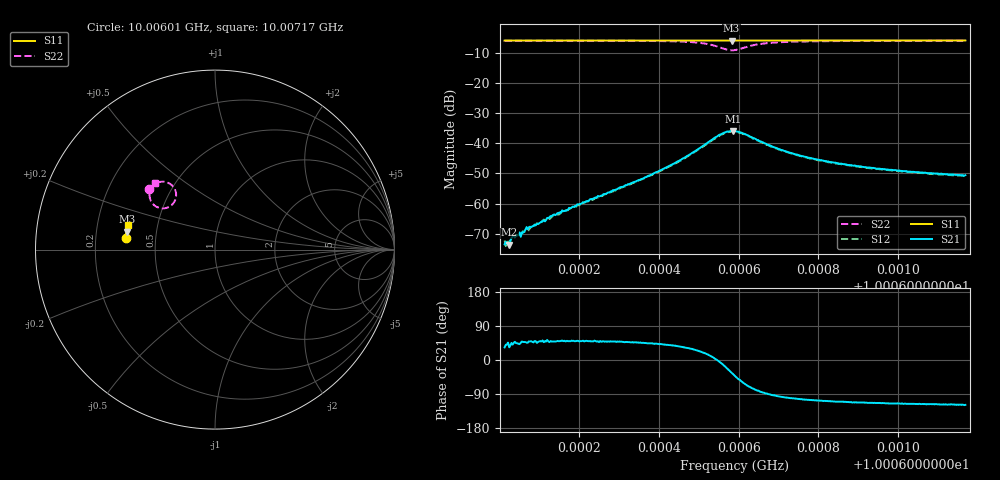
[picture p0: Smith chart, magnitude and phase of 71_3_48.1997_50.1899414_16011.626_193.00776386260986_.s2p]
#  HZ  S  RI  R  50.00
! Rohde & Schwarz Vector Network Analyzer
! Rohde-Schwarz,ZNB20-2Port,1311601062101988,3.16
! Created: UTC 3/20/2024, 11:39:11 AM
! freq[Hz]  re:S11  im:S11  re:S21  im:S21  re:S12  im:S12  re:S22  im:S22
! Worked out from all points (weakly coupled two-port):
!   401 points, 10.00601 GHz to 10.00717 GHz, reference 50 ohm
!   highest |S21| = -35.92 dB at 10.00659 GHz (marker M1); lowest = -73.6 dB at 10.00602 GHz (marker M2)
!   lowest |S11| = -6.0 dB at 10.00658 GHz (marker M3), VSWR 3.01, Z = 16.8 + j4.45 ohm
!   |S11| at or under -10 dB: nowhere
!   |S22| runs from -9.2 to -6.0 dB; largest |S21 - S12| = 0.0011
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1.0006013e10  -0.4976 0.0633  0.000177 0.000117  0.000165 0.000181  -0.3659 0.3387
1.0006022e10  -0.4976 0.0637  0.000158 0.000163  0.000169 0.00016  -0.3654 0.3393
1.0006025e10  -0.4975 0.064  0.000173 0.000115  0.000157 0.000176  -0.3652 0.3396
1.0006036e10  -0.4973 0.0647  0.000201 0.000201  0.000215 0.000203  -0.3645 0.3404
1.0006059e10  -0.4974 0.0663  0.000223 0.000244  0.000226 0.000267  -0.363 0.342
1.0006071e10  -0.4972 0.067  0.000265 0.000269  0.000246 0.000307  -0.3623 0.3428
1.0006111e10  -0.4969 0.0696  0.000362 0.000387  0.000339 0.000426  -0.3593 0.3458
1.0006132e10  -0.4967 0.071  0.000412 0.000469  0.000354 0.000482  -0.3579 0.3473
1.0006207e10  -0.4962 0.0758  0.00065 0.000772  0.000591 0.000782  -0.3517 0.3532
1.00064e10  -0.4944 0.0886  0.00257 0.00231  0.00242 0.00239  -0.3216 0.3727
1.0006461e10  -0.4936 0.0925  0.00467 0.00314  0.0044 0.00327  -0.2974 0.3784
1.0006519e10  -0.4926 0.0962  0.00946 0.00281  0.00904 0.0031  -0.2508 0.3667
1.0006556e10  -0.4916 0.0982  0.014 -0.00197  0.0137 -0.00135  -0.2169 0.3126
1.0006582e10  -0.491 0.0993  0.0133 -0.00876  0.0135 -0.00794  -0.2372 0.2523
1.0006585e10  -0.4914 0.0993  0.0129 -0.00952  0.013 -0.00859  -0.2428 0.247
1.0006591e10  -0.4912 0.0996  0.0117 -0.0107  0.0121 -0.00963  -0.2552 0.2385
1.0006654e10  -0.4916 0.1035  0.00116 -0.0107  0.00179 -0.0105  -0.3532 0.2641
1.0006718e10  -0.4911 0.1077  -0.00114 -0.00725  -0.000743 -0.00718  -0.3648 0.3048
1.0006784e10  -0.4904 0.1121  -0.00153 -0.00541  -0.00125 -0.00535  -0.3616 0.3267
1.0006891e10  -0.4891 0.1191  -0.00161 -0.00396  -0.00135 -0.0039  -0.3536 0.3454
1.0006978e10  -0.4878 0.1245  -0.00152 -0.00329  -0.00134 -0.00331  -0.3477 0.355
1.0007169e10  -0.4851 0.1365  -0.00141 -0.0026  -0.00125 -0.00258  -0.3359 0.3701
